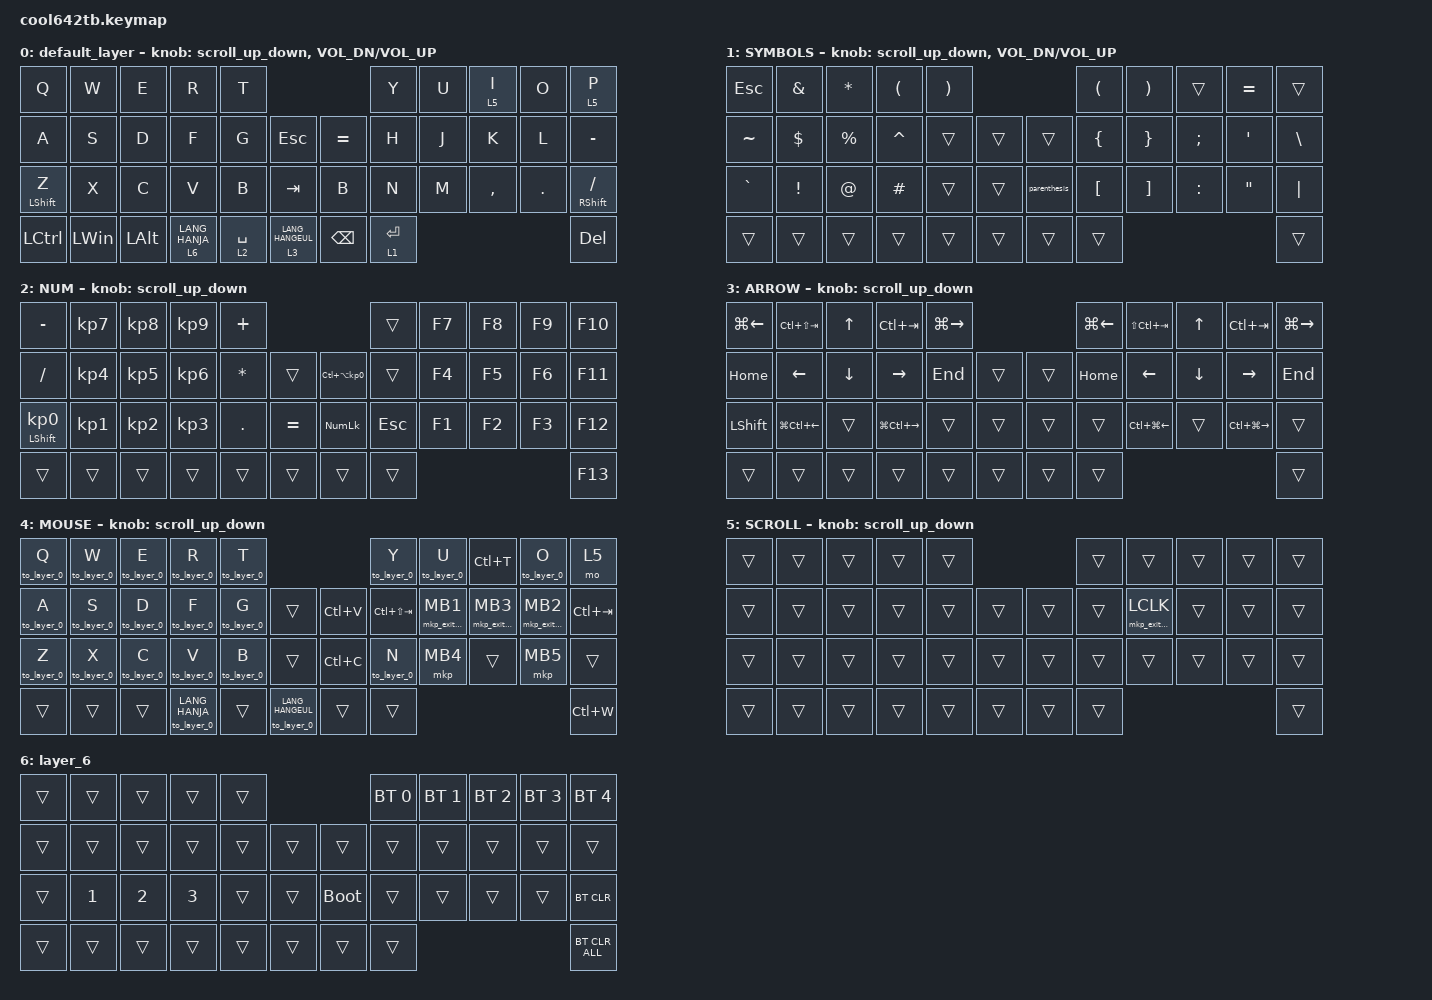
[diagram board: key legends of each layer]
#include <behaviors.dtsi>
#include <dt-bindings/zmk/bt.h>
#include <dt-bindings/zmk/keys.h>
#include <dt-bindings/zmk/pointing.h>

#define ZMK_MOUSE_DEFAULT_SCRL_VAL 100
#define MOUSE 4
#define SCROLL 5
#define NUM 6

&mt {
    flavor = "hold-preferred";
    quick-tap-ms = <0>;
    tapping-term-ms = <150>;
};

/ {
    combos {
        compatible = "zmk,combos";

    };

    macros {
        /omit-if-no-ref/ to_layer_0: to_layer_0 {
            compatible = "zmk,behavior-macro-one-param";
            #binding-cells = <1>;
            bindings = <&to 0 &macro_param_1to1 &kp MACRO_PLACEHOLDER>;
            label = "TO_LAYER_0";
        };

        /omit-if-no-ref/ ret_kp: ret_kp {
            compatible = "zmk,behavior-macro-one-param";
            #binding-cells = <1>;
            bindings =
                <&to 0 &macro_param_1to1>,
                <&macro_press>,
                <&kp MACRO_PLACEHOLDER>,
                <&macro_pause_for_release>,
                <&macro_param_1to1>,
                <&macro_release>,
                <&kp MACRO_PLACEHOLDER>;
            label = "RET_KP";
        };

        mkp_exit_AML: mkp_exit_AML {
            compatible = "zmk,behavior-macro-one-param";
            #binding-cells = <1>;
            bindings =
                <&macro_press>,
                <&macro_param_1to1 &mkp MACRO_PLACEHOLDER>,
                <&macro_pause_for_release>,
                <&macro_release>,
                <&macro_param_1to1 &mkp MACRO_PLACEHOLDER>,
                <&macro_tap>,
                <&sl 4>;

            label = "MKP_EXIT_AML";
        };

        parenthesis: parenthesis {
            compatible = "zmk,behavior-macro";
            #binding-cells = <0>;
            bindings = <&kp LANG_HANJA &kp LEFT_PARENTHESIS &kp RIGHT_PARENTHESIS &kp LEFT_ARROW>;
            label = "parenthesis";
        };
    };

    behaviors {
        /omit-if-no-ref/ lt_to_layer_0: lt_to_layer_0 {
            compatible = "zmk,behavior-hold-tap";
            label = "LAYER_TAP_TO_0";
            bindings = <&mo>, <&to_layer_0>;

            #binding-cells = <2>;
            tapping-term-ms = <200>;
        };

        scroll_up_down: behavior_sensor_rotate_mouse_wheel_up_down {
            compatible = "zmk,behavior-sensor-rotate";
            #sensor-binding-cells = <0>;
            bindings = <&msc SCRL_UP>, <&msc SCRL_DOWN>;

            tap-ms = <20>;
        };
    };

    keymap {
        compatible = "zmk,keymap";

        default_layer {
            bindings = <
&kp Q             &kp W         &kp E         &kp R             &kp T                                             &kp Y        &kp U  &lt 5 I    &kp O    &lt 5 P
&kp A             &kp S         &kp D         &kp F             &kp G        &kp ESCAPE            &kp EQUAL      &kp H        &kp J  &kp K      &kp L    &kp MINUS
&mt LEFT_SHIFT Z  &kp X         &kp C         &kp V             &kp B        &kp TAB               &kp B          &kp N        &kp M  &kp COMMA  &kp DOT  &mt RIGHT_SHIFT SLASH
&kp LCTRL         &kp LEFT_WIN  &kp LEFT_ALT  &lt 6 LANG_HANJA  &lt 2 SPACE  &lt 3 LANG_HANGEUL    &kp BACKSPACE  &lt 1 ENTER                             &kp DEL
            >;

            sensor-bindings =
                <&scroll_up_down>,
                <&inc_dec_kp C_VOL_DN C_VOL_UP>;
        };

        SYMBOLS {
            bindings = <
&kp ESCAPE  &kp AMPERSAND    &kp ASTERISK  &kp LEFT_PARENTHESIS  &kp RIGHT_PARENTHESIS                          &kp LEFT_PARENTHESIS  &kp RIGHT_PARENTHESIS  &trans         &kp EQUAL          &trans
&kp TILDE   &kp DOLLAR       &kp PERCENT   &kp CARET             &trans                 &trans    &trans        &kp LEFT_BRACE        &kp RIGHT_BRACE        &kp SEMICOLON  &kp SINGLE_QUOTE   &kp BACKSLASH
&kp GRAVE   &kp EXCLAMATION  &kp AT_SIGN   &kp HASH              &trans                 &trans    &parenthesis  &kp LEFT_BRACKET      &kp RIGHT_BRACKET      &kp COLON      &kp DOUBLE_QUOTES  &kp PIPE
&trans      &trans           &trans        &trans                &trans                 &trans    &trans        &trans                                                                         &trans
            >;

            sensor-bindings =
                <&scroll_up_down>,
                <&inc_dec_kp C_VOL_DN C_VOL_UP>;
        };

        NUM {
            bindings = <
&kp MINUS                   &kp KP_NUMBER_7  &kp KP_NUMBER_8  &kp KP_NUMBER_9  &kp PLUS                                            &trans      &kp F7  &kp F8  &kp F9  &kp F10
&kp SLASH                   &kp KP_NUMBER_4  &kp KP_NUMBER_5  &kp KP_NUMBER_6  &kp ASTERISK  &trans       &kp LC(LA(KP_NUMBER_0))  &trans      &kp F4  &kp F5  &kp F6  &kp F11
&mt LEFT_SHIFT KP_NUMBER_0  &kp KP_NUMBER_1  &kp KP_NUMBER_2  &kp KP_NUMBER_3  &kp PERIOD    &kp EQUAL    &kp KP_NUMLOCK           &kp ESCAPE  &kp F1  &kp F2  &kp F3  &kp F12
&trans                      &trans           &trans           &trans           &trans        &trans       &trans                   &trans                              &kp F13
            >;

            sensor-bindings = <&scroll_up_down>;
        };

        ARROW {
            bindings = <
&kp LG(LEFT_ARROW)  &kp LC(LS(TAB))         &kp UP_ARROW    &kp LC(TAB)              &kp LG(RIGHT_ARROW)                    &kp LG(LEFT_ARROW)  &kp LS(LC(TAB))         &kp UP_ARROW    &kp LC(TAB)              &kp LG(RIGHT_ARROW)
&kp HOME            &kp LEFT_ARROW          &kp DOWN_ARROW  &kp RIGHT_ARROW          &kp END              &trans    &trans  &kp HOME            &kp LEFT_ARROW          &kp DOWN_ARROW  &kp RIGHT_ARROW          &kp END
&kp LEFT_SHIFT      &kp LG(LC(LEFT_ARROW))  &trans          &kp LG(LC(RIGHT_ARROW))  &trans               &trans    &trans  &trans              &kp LC(LG(LEFT_ARROW))  &trans          &kp LC(LG(RIGHT_ARROW))  &trans
&trans              &trans                  &trans          &trans                   &trans               &trans    &trans  &trans                                                                               &trans
            >;

            sensor-bindings = <&scroll_up_down>;
        };

        MOUSE {
            bindings = <
&to_layer_0 Q  &to_layer_0 W  &to_layer_0 E  &to_layer_0 R           &to_layer_0 T                                         &to_layer_0 Y    &to_layer_0 U      &kp LC(T)          &to_layer_0 O      &mo 5
&to_layer_0 A  &to_layer_0 S  &to_layer_0 D  &to_layer_0 F           &to_layer_0 G  &trans                      &kp LC(V)  &kp LC(LS(TAB))  &mkp_exit_AML MB1  &mkp_exit_AML MB3  &mkp_exit_AML MB2  &kp LC(TAB)
&to_layer_0 Z  &to_layer_0 X  &to_layer_0 C  &to_layer_0 V           &to_layer_0 B  &trans                      &kp LC(C)  &to_layer_0 N    &mkp MB4           &trans             &mkp MB5           &trans
&trans         &trans         &trans         &to_layer_0 LANG_HANJA  &trans         &to_layer_0 LANG_HANGEUL    &trans     &trans                                                                    &kp LC(W)
            >;

            sensor-bindings = <&scroll_up_down>;
        };

        SCROLL {
            bindings = <
&trans  &trans  &trans  &trans  &trans                    &trans  &trans              &trans  &trans  &trans
&trans  &trans  &trans  &trans  &trans  &trans    &trans  &trans  &mkp_exit_AML LCLK  &trans  &trans  &trans
&trans  &trans  &trans  &trans  &trans  &trans    &trans  &trans  &trans              &trans  &trans  &trans
&trans  &trans  &trans  &trans  &trans  &trans    &trans  &trans                                      &trans
            >;

            sensor-bindings = <&scroll_up_down>;
        };

        layer_6 {
            bindings = <
&trans  &trans        &trans        &trans        &trans                         &bt BT_SEL 0  &bt BT_SEL 1  &bt BT_SEL 2  &bt BT_SEL 3  &bt BT_SEL 4
&trans  &trans        &trans        &trans        &trans  &trans    &trans       &trans        &trans        &trans        &trans        &trans
&trans  &kp NUMBER_1  &kp NUMBER_2  &kp NUMBER_3  &trans  &trans    &bootloader  &trans        &trans        &trans        &trans        &bt BT_CLR
&trans  &trans        &trans        &trans        &trans  &trans    &trans       &trans                                                  &bt BT_CLR_ALL
            >;
        };
    };
};
